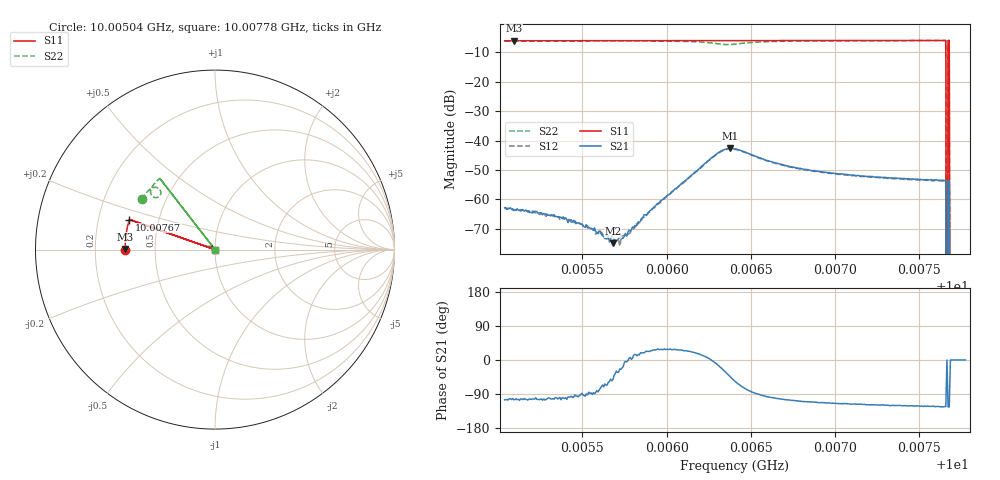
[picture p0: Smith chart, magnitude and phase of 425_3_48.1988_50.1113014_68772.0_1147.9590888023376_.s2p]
#  HZ  S  RI  R  50.00
! Rohde & Schwarz Vector Network Analyzer
! Rohde-Schwarz,ZNB20-2Port,1311601062101988,3.16
! Created: UTC 3/20/2024, 11:55:06 AM
! freq[Hz]  re:S11  im:S11  re:S21  im:S21  re:S12  im:S12  re:S22  im:S22
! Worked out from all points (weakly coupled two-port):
!   401 points, 10.00504 GHz to 10.00778 GHz, reference 50 ohm
!   highest |S21| = -42.64 dB at 10.00638 GHz (marker M1); lowest = -74.9 dB at 10.00568 GHz (marker M2)
!   lowest |S11| = -6.0 dB at 10.00509 GHz (marker M3), VSWR 3.00, Z = 16.7 + j0.159 ohm
!   |S11| at or under -10 dB: 10.00766 GHz to 10.00767 GHz (13.4 kHz wide, 0.000134 % of centre); 10.00768 GHz to end of sweep
!   |S22| runs from - to -6.0 dB; largest |S21 - S12| = 0.00046
!   S11 on the Smith chart (normalised r, x): 10.00504 GHz: 0.33, +0.00; 10.00767 GHz: 0.34, +0.15; 10.00778 GHz: 1.00, +0.00
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1.0005037e10  -0.4999 2.42e-05  -0.000186 -0.000699  -0.000134 -0.000679  -0.4082 0.2796
1.0005092e10  -0.4998 0.00359  -0.000168 -0.000623  -0.000139 -0.000652  -0.4059 0.2829
1.0005332e10  -0.5 0.0192  -0.000129 -0.000538  -8.34e-05 -0.000514  -0.3967 0.297
1.0005496e10  -0.4999 0.0297  1.36e-05 -0.000382  -2.75e-07 -0.000379  -0.3897 0.3068
1.0005681e10  -0.4993 0.0418  0.000112 -0.000142  0.000157 -0.000133  -0.3805 0.3181
1.0005722e10  -0.4994 0.0444  0.000208 -9.16e-05  0.000148 -6.19e-05  -0.3782 0.3207
1.0005749e10  -0.4991 0.0463  0.000236 -2.35e-05  0.000238 3.45e-05  -0.3767 0.3225
1.0005954e10  -0.4982 0.0594  0.000762 0.000397  0.000758 0.000413  -0.3625 0.336
1.0006276e10  -0.4955 0.0802  0.00536 -0.00032  0.00524 -7.18e-05  -0.3076 0.3347
1.0006379e10  -0.4943 0.0863  0.00522 -0.00521  0.00539 -0.00479  -0.3152 0.2936
1.0006406e10  -0.4943 0.088  0.00401 -0.00604  0.00425 -0.0057  -0.3272 0.2897
1.0006646e10  -0.4922 0.1033  -0.000767 -0.0041  -0.00057 -0.00407  -0.3584 0.3298
1.0006865e10  -0.4897 0.1172  -0.0011 -0.0029  -0.000967 -0.00288  -0.3488 0.352
1.0007323e10  -0.4829 0.1461  -0.00116 -0.00202  -0.00106 -0.00204  -0.3255 0.3802
1.0007645e10  -0.4772 0.1659  -0.00118 -0.00176  -0.00106 -0.00179  -0.309 0.396
1.0007652e10  -0.477 0.1664  -0.00113 -0.00176  -0.00107 -0.0018  -0.3089 0.3962
1.0007666e10  0 0  0 0  0 0  0 0
1.0007673e10  -0.4766 0.1675  -0.00117 -0.00174  -0.00109 -0.00173  -0.308 0.3972
1.0007679e10  -0.4765 0.1679  -0.00116 -0.00172  -0.00107 -0.00176  -0.3076 0.3976
1.0007686e10  0 0  0 0  0 0  0 0
1.00077e10  0 0  0 0  0 0  0 0
1.0007775e10  0 0  0 0  0 0  0 0
